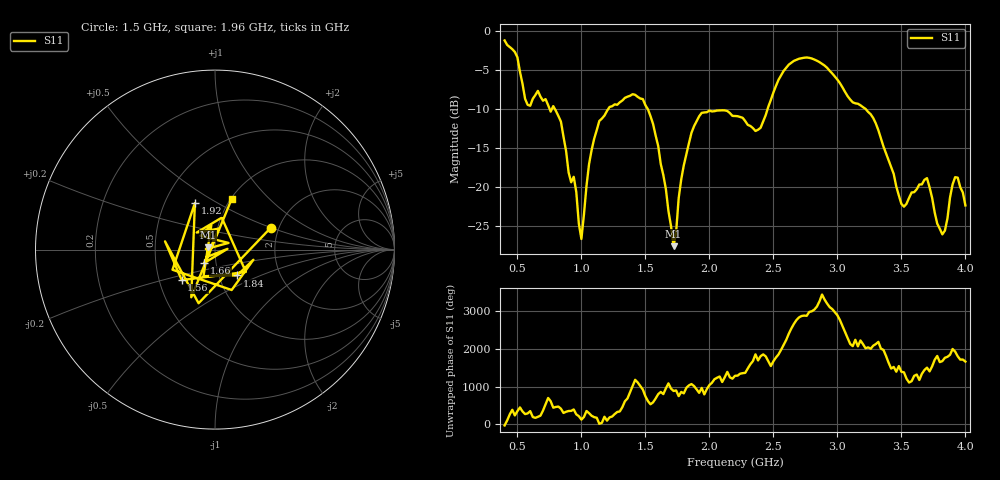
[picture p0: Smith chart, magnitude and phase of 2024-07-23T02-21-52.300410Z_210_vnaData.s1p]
!Created with skrf (http://scikit-rf.org).
# Hz S RI R 50.0
!freq ReS11 ImS11
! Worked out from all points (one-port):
!   181 points, 400 MHz to 4 GHz, reference 50 ohm
!   lowest |S11| = -27.6 dB at 1.72 GHz (marker M1), VSWR 1.09, Z = 46.2 + j1.1 ohm
!   |S11| at or under -10 dB: 790.6 MHz to 1.212 GHz (421.4 MHz wide, 42.1 % of centre); 1.516 GHz to 2.456 GHz (939.7 MHz wide, 47.3 % of centre); 3.216 GHz to end of sweep (the widest 3 of 4)
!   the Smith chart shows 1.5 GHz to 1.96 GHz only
!   S11 on the Smith chart (normalised r, x): 1.5 GHz: 1.81, +0.49; 1.56 GHz: 0.65, -0.24; 1.66 GHz: 0.88, -0.13; 1.84 GHz: 1.22, -0.36; 1.92 GHz: 0.71, +0.40; 1.96 GHz: 1.01, +0.63
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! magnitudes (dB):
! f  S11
! 400 MHz  -1.3
! 500 MHz  -3.4
! 580 MHz  -9.5
! 660 MHz  -7.7
! 860 MHz  -13.6
! 940 MHz  -18.8
! 1 GHz  -26.7
! 1.1 GHz  -13.9
! 1.3 GHz  -9.2
! 1.5 GHz  -9.6
! 1.56 GHz  -12.0
! 1.66 GHz  -20.3
! 1.72 GHz  -27.6
! 1.76 GHz  -21.5
! 1.84 GHz  -14.5
! 1.92 GHz  -11.0
! 1.96 GHz  -10.5
! 2.2 GHz  -11.0
! 2.4 GHz  -12.5
! 2.66 GHz  -3.9
! 3.1 GHz  -8.8
! 3.28 GHz  -11.2
! 3.5 GHz  -22.2
! 3.56 GHz  -21.5
! 3.7 GHz  -18.9
! 3.82 GHz  -26.1
! 3.92 GHz  -18.8
! 4 GHz  -22.4
